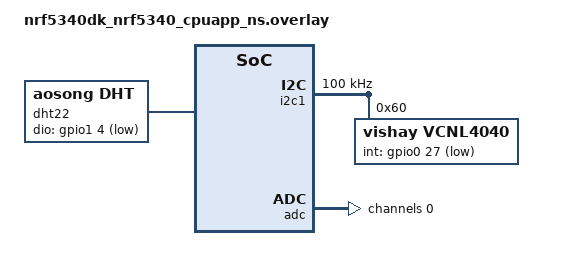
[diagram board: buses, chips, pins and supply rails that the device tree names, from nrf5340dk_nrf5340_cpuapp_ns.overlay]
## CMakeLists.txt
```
# Default version set by nRF Connect SDK
cmake_minimum_required(VERSION 3.20.0)

# Zephyr RTOS
find_package(Zephyr REQUIRED HINTS $ENV{ZEPHYR_BASE})

# Project name
project(praca_inzynierska)

# Seems like "app" target is hardcoded and shouldn't be changed
target_sources(app PRIVATE
                src/main.c
                src/analog/analog.c
                src/analog/analog_ranges/analog_ranges.c
                src/ble/ble.c
                src/ble/service/service.c
                src/external_sensors/temp_humid/temp_humid.c
                src/external_sensors/ambient_light/ambient_light.c
                src/external_sensors/external_sensors.c)
```

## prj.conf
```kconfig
#
# Copyright (c) 2019 Nordic Semiconductor ASA
#
# SPDX-License-Identifier: Apache-2.0
#

# Sensors
CONFIG_SENSOR=y
CONFIG_GPIO=y
CONFIG_ADC=y
CONFIG_I2C=y

# Need float format support
CONFIG_REQUIRES_FULL_LIBC=y
CONFIG_REQUIRES_FLOAT_PRINTF=y
CONFIG_CBPRINTF_FP_SUPPORT=y

# Logging
CONFIG_LOG=y
CONFIG_SENSOR_LOG_LEVEL_DBG=y

# Disable secure uart as it interferes with i2c
# https://devzone.nordicsemi.com/f/nordic-q-a/109959/i2c-problems-in-sdk-v2-6-0-on-nrf5340dk
CONFIG_TFM_SECURE_UART=n
CONFIG_TFM_LOG_LEVEL_SILENCE=y

# Ambient light sensor configuration
CONFIG_VCNL4040_ENABLE_ALS=y

# Bluetooth LE
CONFIG_BT=y
CONFIG_BT_PERIPHERAL=y
```

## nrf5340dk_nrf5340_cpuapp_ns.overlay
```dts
/*
 *  Devicetree overlay for Nordic nRF5340 DK
 */

 &i2c1 {
	status = "okay";
	compatible = "nordic,nrf-twim";
	label = "i2c1";
	clock-frequency = <I2C_BITRATE_STANDARD>;

	// Ambient light sensor vcnl4040
	vcnl4040@60 {
		compatible = "vishay,vcnl4040";
		reg = <0x60>;
		int-gpios = <&gpio0 27 (GPIO_ACTIVE_LOW | GPIO_PULL_UP)>;
		led-current = <200>;
		led-duty-cycle = <320>;
		proximity-it = "8";
		proximity-trigger = "close";
		als-it = <640>;
	};
};

&adc {
	#address-cells = <1>;
	#size-cells = <0>;
	
	// Analog soil moisture sensor
	channel@0 {
		reg = <0>;
		zephyr,gain = "ADC_GAIN_1_6";
		zephyr,reference = "ADC_REF_INTERNAL";
		zephyr,acquisition-time = <ADC_ACQ_TIME_DEFAULT>;
		zephyr,input-positive = <NRF_SAADC_AIN0>;
	};
};

 / {
	// Temperature and humidity sensor DHT22
	dht22: dht22 {
		compatible = "aosong,dht";
		status = "okay";
		dio-gpios = <&gpio1 4 (GPIO_PULL_UP | GPIO_ACTIVE_LOW)>;
		dht22;
	};

	aliases {
		adc0 = &adc;
		dht = &dht22;
	};
};
```

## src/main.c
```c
#include <zephyr/kernel.h>
#include "external_sensors/external_sensors.h"
#include "analog/analog.h"
#include "ble/ble.h"
#include "ble/service/service.h"

int main(void)
{
	struct temperatureAndHumidityValues tempHumid = {0};
	struct lightAndProximityValues		lightProxi = {0};
	double 								soilMoisturePercentage = 0.0f;
	uint8_t								brokenSensors = 0;
	const uint16_t						waitTime = 5;

	brokenSensors = checkAllSensors();
	if (brokenSensors) {
		printk("Error: %d sensor(s) not ready\n", brokenSensors);
		return 1;
	}

	if (initilizeAdc()) {
		printk("Error: could not initialize ADC\n");
		return 1;
	}

	if (initBle()) {
		printk("Error: cannot initialize BLE\n");
		return 1;
	}

	for (;;) {
		if (readTemperatureAndHumidity(&tempHumid)) {
			printk("Error: cannot read temperature and humidity\n");
			continue;
		} else {
			printk("Temperature: %.1f C\n", tempHumid.temperature);
			printk("Humidity: %.1f RH%%\n", tempHumid.humidity);
		}

		if (getAnalogSensorValue(SENSOR_MOISTURE, &soilMoisturePercentage)) {
			printk("Error: cannot get value from analog sensor\n");
			continue;
		} else {
			printk("Soil moisture: %.1f RH%%\n", soilMoisturePercentage * 100);
		}

		if (readAmbientLightValue(&lightProxi)) {
			printk("Error: cannot read light and proximity\n");
			continue;
		} else {
			printk("Ambient light: %d lux\n", lightProxi.light);
			printk("Proximity value: %d \n", lightProxi.proximity);
		}

		bleUpdateData(tempHumid, lightProxi, soilMoisturePercentage);

		k_sleep(K_SECONDS(waitTime));
	}

	return 0;
}
```
